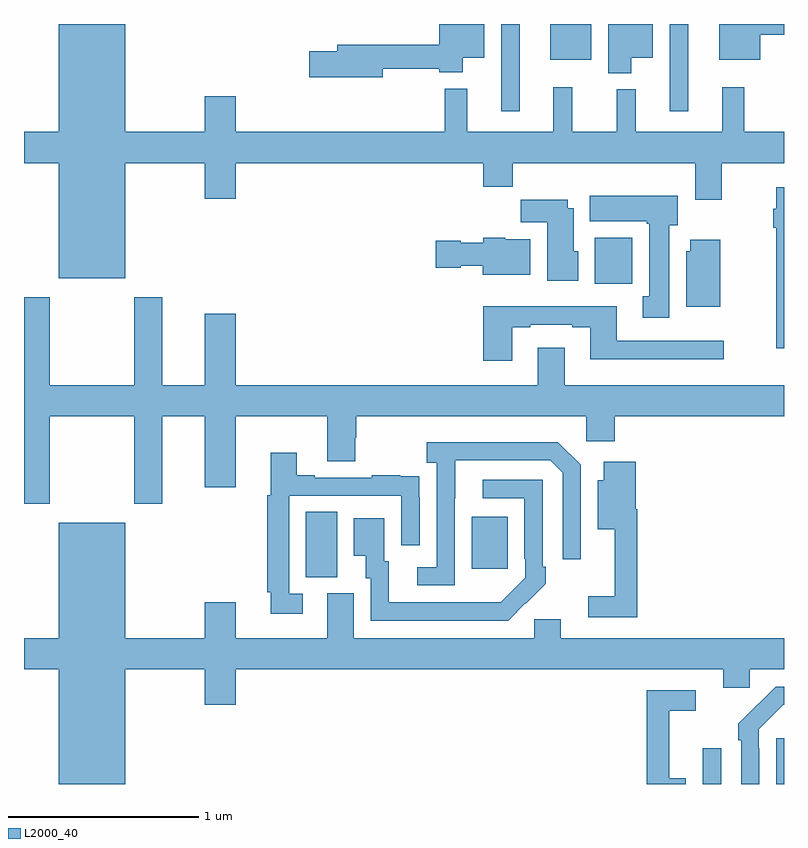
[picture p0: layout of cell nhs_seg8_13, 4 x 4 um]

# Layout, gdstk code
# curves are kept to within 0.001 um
import gdstk
lib = gdstk.Library(unit=1e-6, precision=1e-09)
def R(c, l, rs):  # rectangles x0, y0, x1, y1
    for r in rs: c.add(gdstk.rectangle(r[:2], r[2:], *l))
def P(c, l, *ps):  # polygons
    for p in ps: c.add(gdstk.Polygon(p, *l))
L2000_40 = (2000, 40)

nhs_seg8_13 = lib.new_cell('nhs_seg8_13')
R(nhs_seg8_13, L2000_40, [(114.573,1111.9,114.669,1112.089), (114.959,1111.9,115,1112.14), (112.484,1112.989,112.648,1113.332), (113.357,1113.033,113.545,1113.307), (114.005,1114.532,114.202,1114.774), (113.511,1115.442,113.608,1115.9), (114.399,1115.442,114.496,1115.9), (113.771,1115.711,113.986,1115.9)])
P(nhs_seg8_13, L2000_40, [(111.532,1115.168),(111.95,1115.168),(111.95,1114.98),(112.114,1114.98),(112.114,1115.168),(113.417,1115.168),(113.417,1115.044),(113.573,1115.044),(113.573,1115.168),(114.533,1115.168),(114.533,1114.974),(114.673,1114.974),(114.673,1115.168),(115,1115.168),(115,1115.332),(114.791,1115.332),(114.791,1115.566),(114.674,1115.566),(114.674,1115.332),(114.221,1115.332),(114.221,1115.557),(114.121,1115.557),(114.121,1115.332),(113.886,1115.332),(113.886,1115.566),(113.786,1115.566),(113.786,1115.332),(113.333,1115.332),(113.333,1115.56),(113.215,1115.56),(113.215,1115.332),(112.114,1115.332),(112.114,1115.521),(111.95,1115.521),(111.95,1115.332),(111.532,1115.332),(111.532,1115.9),(111.182,1115.9),(111.182,1115.332),(111,1115.332),(111,1115.168),(111.182,1115.168),(111.182,1114.562),(111.532,1114.562)],
  [(114.874,1115.843),(115,1115.843),(115,1115.9),(114.659,1115.9),(114.659,1115.711),(114.874,1115.711)],
  [(114.196,1115.723),(114.31,1115.723),(114.31,1115.9),(114.074,1115.9),(114.074,1115.642),(114.196,1115.642)],
  [(112.888,1115.664),(113.186,1115.664),(113.186,1115.645),(113.308,1115.645),(113.308,1115.723),(113.422,1115.723),(113.422,1115.9),(113.186,1115.9),(113.186,1115.792),(112.649,1115.792),(112.649,1115.756),(112.5,1115.756),(112.5,1115.621),(112.888,1115.621)],
  [(115,1115.041),(114.958,1115.041),(114.958,1114.928),(114.943,1114.928),(114.943,1114.828),(114.958,1114.828),(114.958,1114.194),(115,1114.194)],
  [(114.397,1114.842),(114.442,1114.842),(114.442,1114.996),(113.978,1114.996),(113.978,1114.862),(114.277,1114.862),(114.277,1114.849),(114.29,1114.849),(114.29,1114.466),(114.257,1114.466),(114.257,1114.353),(114.397,1114.353)],
  [(113.917,1114.704),(113.893,1114.704),(113.893,1114.93),(113.863,1114.93),(113.863,1114.975),(113.614,1114.975),(113.614,1114.856),(113.753,1114.856),(113.753,1114.55),(113.917,1114.55)],
  [(113.665,1114.768),(113.532,1114.768),(113.532,1114.774),(113.418,1114.774),(113.418,1114.75),(113.298,1114.75),(113.298,1114.758),(113.166,1114.758),(113.166,1114.616),(113.298,1114.616),(113.298,1114.628),(113.414,1114.628),(113.414,1114.58),(113.665,1114.58)],
  [(114.664,1114.765),(114.506,1114.765),(114.506,1114.704),(114.485,1114.704),(114.485,1114.412),(114.664,1114.412)],
  [(111.135,1113.836),(111.58,1113.836),(111.58,1113.375),(111.727,1113.375),(111.727,1113.836),(111.95,1113.836),(111.95,1113.462),(112.114,1113.462),(112.114,1113.836),(112.595,1113.836),(112.595,1113.598),(112.743,1113.598),(112.743,1113.723),(112.748,1113.723),(112.748,1113.836),(113.958,1113.836),(113.958,1113.705),(114.11,1113.705),(114.11,1113.836),(115,1113.836),(115,1114),(113.845,1114),(113.845,1114.195),(113.705,1114.195),(113.705,1114),(112.114,1114),(112.114,1114.375),(111.95,1114.375),(111.95,1114),(111.727,1114),(111.727,1114.462),(111.58,1114.462),(111.58,1114),(111.135,1114),(111.135,1114.462),(111,1114.462),(111,1113.375),(111.135,1113.375)],
  [(113.569,1114.305),(113.665,1114.305),(113.665,1114.317),(113.885,1114.317),(113.885,1114.305),(113.981,1114.305),(113.981,1114.136),(114.682,1114.136),(114.682,1114.233),(114.121,1114.233),(114.121,1114.414),(113.417,1114.414),(113.417,1114.128),(113.569,1114.128)],
  [(113.268,1113.403),(113.269,1113.603),(113.769,1113.603),(113.835,1113.537),(113.835,1113.084),(113.931,1113.084),(113.931,1113.579),(113.81,1113.7),(113.121,1113.7),(113.121,1113.59),(113.172,1113.59),(113.172,1113.042),(113.07,1113.042),(113.07,1112.946),(113.268,1112.946)],
  [(112.468,1112.901),(112.395,1112.901),(112.395,1113.417),(112.986,1113.417),(112.986,1113.156),(113.082,1113.156),(113.082,1113.41),(113.081,1113.41),(113.081,1113.519),(112.979,1113.519),(112.979,1113.526),(112.831,1113.526),(112.831,1113.513),(112.531,1113.513),(112.531,1113.526),(112.435,1113.526),(112.435,1113.643),(112.298,1113.643),(112.298,1113.42),(112.279,1113.42),(112.279,1112.908),(112.298,1112.908),(112.298,1112.796),(112.468,1112.796)],
  [(114.227,1113.346),(114.221,1113.346),(114.221,1113.595),(114.05,1113.595),(114.05,1113.499),(114.02,1113.499),(114.02,1113.242),(114.11,1113.242),(114.11,1112.887),(113.97,1112.887),(113.97,1112.778),(114.227,1112.778)],
  [(113.639,1112.851),(113.64,1112.85),(113.745,1112.955),(113.745,1113.043),(113.73,1113.043),(113.73,1113.501),(113.415,1113.501),(113.415,1113.405),(113.634,1113.405),(113.634,1113.085),(113.637,1113.085),(113.637,1112.985),(113.509,1112.857),(112.921,1112.856),(112.921,1113.072),(112.897,1113.072),(112.897,1113.298),(112.736,1113.298),(112.736,1113.101),(112.799,1113.101),(112.799,1112.982),(112.824,1112.982),(112.824,1112.76),(113.548,1112.76)],
  [(111.532,1112.504),(111.95,1112.504),(111.95,1112.316),(112.114,1112.316),(112.114,1112.504),(114.68,1112.504),(114.68,1112.406),(114.819,1112.406),(114.819,1112.504),(115,1112.504),(115,1112.668),(113.824,1112.668),(113.824,1112.766),(113.685,1112.766),(113.685,1112.668),(112.735,1112.668),(112.735,1112.904),(112.595,1112.904),(112.595,1112.668),(112.114,1112.668),(112.114,1112.857),(111.95,1112.857),(111.95,1112.668),(111.532,1112.668),(111.532,1113.274),(111.182,1113.274),(111.182,1112.668),(111,1112.668),(111,1112.504),(111.182,1112.504),(111.182,1111.9),(111.532,1111.9)],
  [(114.87,1112.087),(114.867,1112.087),(114.867,1112.187),(114.996,1112.316),(115,1112.316),(115,1112.412),(114.956,1112.412),(114.759,1112.217),(114.759,1112.129),(114.774,1112.129),(114.774,1111.9),(114.87,1111.9)],
  [(114.484,1111.93),(114.395,1111.93),(114.395,1112.286),(114.535,1112.286),(114.535,1112.394),(114.277,1112.394),(114.277,1111.9),(114.484,1111.9)])

lib.write_gds('nhs_seg8_13.gds')
